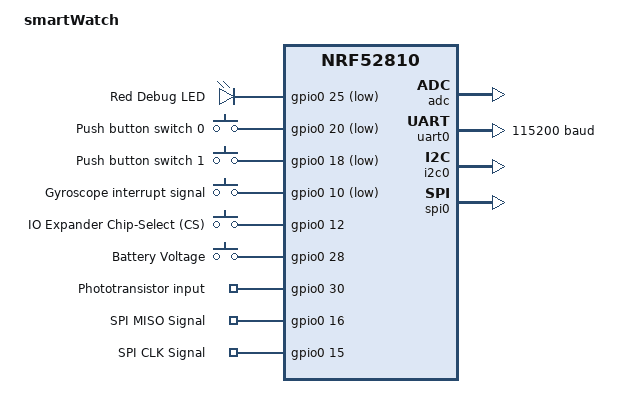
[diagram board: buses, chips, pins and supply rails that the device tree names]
/*
 * Copyright (c) 2019-2022 Nordic Semiconductor ASA
 *
 * SPDX-License-Identifier: LicenseRef-Nordic-5-Clause
 */

/dts-v1/;
#include <nordic/nrf52810_qfaa.dtsi>
#include "smartWatch-pinctrl.dtsi"

/ {
	model = "smartWatch";
	compatible = "nordic,smartWatch";

	chosen {
		zephyr,console = &uart0;
		zephyr,shell-uart = &uart0;

		zephyr,uart-mcumgr = &uart0;
		//zephyr,bt-uart = &uart0;
		//zephyr,bt-mon-uart = &uart0;
		//zephyr,bt-c2h-uart = &uart0;

		zephyr,sram = &sram0;
		zephyr,flash = &flash0;
		zephyr,code-partition = &slot0_partition;
	};
 
	leds {
		compatible = "gpio-leds";
		led0: led_0 {
			gpios = <&gpio0 25 GPIO_ACTIVE_LOW>;
			label = "Red Debug LED";
		};
	};

	buttons {
		compatible = "gpio-keys";
		button0: button_0 {
			label = "Push button switch 0";
			gpios = <&gpio0 20 (GPIO_PULL_UP | GPIO_ACTIVE_LOW)>;
		};
		button1: button_1 {
			label = "Push button switch 1";
			gpios = <&gpio0 18 (GPIO_ACTIVE_LOW)>;
		};
	};

	custom_pins {
		compatible = "gpio-keys";
		gyroInt: gyro_int {
			label = "Gyroscope interrupt signal";
			gpios = <&gpio0 10 (GPIO_ACTIVE_LOW)>;
		};
		csIOExpander: cs_io_expander {
			label = "IO Expander Chip-Select (CS)";
			gpios = <&gpio0 12 (GPIO_ACTIVE_HIGH)>;
		};
		batsens: bat_sens {
			label = "Battery Voltage";
			gpios = <&gpio0 28 (GPIO_ACTIVE_HIGH)>;
		};
		photo: photo_sens {
			label = "Phototransistor input";
			gpios = <&gpio0 30 (GPIO_ACTIVE_HIGH)>;
		};
		miso: spi_miso {
			label = "SPI MISO Signal";
			gpios = <&gpio0 16 (GPIO_ACTIVE_HIGH)>;
		};
		clk: spi_clk {
			label = "SPI CLK Signal";
			gpios = <&gpio0 15 (GPIO_ACTIVE_HIGH)>;
		};

	};

	/* These aliases are provided for compatibility with samples */
	aliases {
		led0 = &led0;
		btn0 = &button0;
		btn1 = &button1;
		miso = &miso;
		clk  = &clk;

		spi0 = &spi0;
		i2c0 = &i2c0;
		mxc400-int = &gyroInt;
		cs = &csIOExpander;
		bat = &batsens;
		photo = &photo;
		
		bootloader-led0 = &led0;
		bootloader-button0 = &button0;
		mcuboot-button0 = &button0;
		mcuboot-led0 = &led0;
		watchdog0 = &wdt0;
	};
};

&adc {
	status = "okay";
};

&gpiote {
	status = "okay";
};

&gpio0 {
	status = "okay";
};

&uart0 {
	status = "okay";
	compatible = "nordic,nrf-uart";
	current-speed = <115200>;
	pinctrl-0 = <&uart0_default>;
	pinctrl-1 = <&uart0_sleep>;
	pinctrl-names = "default", "sleep";
};
 
&i2c0 {
	compatible = "nordic,nrf-twi";
	status = "okay";
	pinctrl-0 = <&i2c0_default>;
	pinctrl-1 = <&i2c0_sleep>;
	pinctrl-names = "default", "sleep";
};

&spi0 {
	compatible = "nordic,nrf-spi";
	status = "okay";
	pinctrl-0 = <&spi0_default>;
	pinctrl-1 = <&spi0_sleep>;
	pinctrl-names = "default", "sleep";

	/*
	paw3212@0 {
		compatible = "pixart,paw3212";
		reg = <0>;
		irq-gpios = <&gpio0 14 (GPIO_ACTIVE_LOW | GPIO_PULL_UP)>;
		spi-max-frequency = <2000000>;
	};
	*/
};

&flash0 {
	/*
	 * For more information, see:
	 * http://docs.zephyrproject.org/latest/guides/dts/index.html#flash-partitions
	 */
	partitions {
		compatible = "fixed-partitions";
		#address-cells = <1>;
		#size-cells = <1>;

		boot_partition: partition@0 {
			label = "mcuboot";
			reg = <0x00000000 0xc000>;
		};
		slot0_partition: partition@c000 {
			label = "image-0";
			reg = <0x0000c000 0xe000>;
		};
		slot1_partition: partition@1a000 {
			label = "image-1";
			reg = <0x0001a000 0xe000>;
		};
		scratch_partition: partition@28000 {
			label = "image-scratch";
			reg = <0x00028000 0x4000>;
		};
		storage_partition: partition@2c000 {
			label = "storage";
			reg = <0x0002c000 0x00004000>;
		};
	};
};
